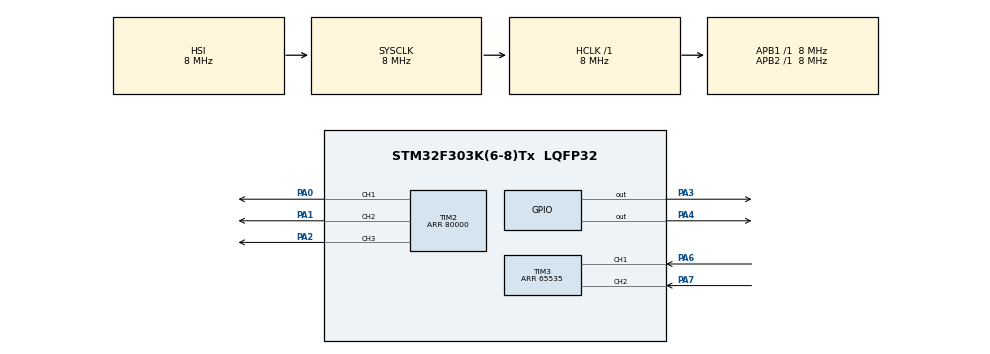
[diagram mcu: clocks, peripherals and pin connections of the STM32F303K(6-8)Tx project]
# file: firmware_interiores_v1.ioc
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Mcu.Family=STM32F3
Mcu.Name=STM32F303K(6-8)Tx
Mcu.Package=LQFP32
NVIC.PriorityGroup=NVIC_PRIORITYGROUP_4
NVIC.TIM2_IRQn=true\:0\:0\:false\:false\:true\:true\:true\:true
NVIC.TIM3_IRQn=true\:0\:0\:false\:false\:true\:true\:true\:true
PA0.Signal=S_TIM2_CH1_ETR
PA1.Signal=S_TIM2_CH2
PA13.Mode=Serial_Wire
PA13.Signal=SYS_JTMS-SWDIO
PA14.Mode=Serial_Wire
PA14.Signal=SYS_JTCK-SWCLK
PA2.Signal=S_TIM2_CH3
PA3.Signal=GPIO_Output
PA4.Signal=GPIO_Output
PA6.Signal=S_TIM3_CH1
PA7.Signal=S_TIM3_CH2
ProjectManager.HeapSize=0x200
ProjectManager.StackSize=0x400
ProjectManager.TargetToolchain=STM32CubeIDE
RCC.AHBFreq_Value=8000000
RCC.APB1Freq_Value=8000000
RCC.APB1TimFreq_Value=8000000
RCC.APB2Freq_Value=8000000
RCC.APB2TimFreq_Value=8000000
RCC.CortexFreq_Value=8000000
RCC.HCLKFreq_Value=8000000
RCC.HSE_VALUE=8000000
RCC.HSI_VALUE=8000000
RCC.PLLMUL=RCC_PLL_MUL9
RCC.SYSCLKFreq_VALUE=8000000
SH.S_TIM2_CH1_ETR.0=TIM2_CH1,PWM Generation1 CH1
SH.S_TIM2_CH2.0=TIM2_CH2,PWM Generation2 CH2
SH.S_TIM2_CH3.0=TIM2_CH3,PWM Generation3 CH3
SH.S_TIM3_CH1.0=TIM3_CH1,Encoder_Interface
SH.S_TIM3_CH2.0=TIM3_CH2,Encoder_Interface
TIM2.AutoReloadPreload=TIM_AUTORELOAD_PRELOAD_ENABLE
TIM2.Channel-PWM\ Generation1\ CH1=TIM_CHANNEL_1
TIM2.Channel-PWM\ Generation2\ CH2=TIM_CHANNEL_2
TIM2.Channel-PWM\ Generation3\ CH3=TIM_CHANNEL_3
TIM2.Period=80000
TIM2.Pulse-PWM\ Generation1\ CH1=15360
TIM2.Pulse-PWM\ Generation2\ CH2=12160
TIM2.Pulse-PWM\ Generation3\ CH3=8960
TIM3.EncoderMode=TIM_ENCODERMODE_TI12
TIM3.IC1Polarity=TIM_ICPOLARITY_RISING
TIM3.IC2Polarity=TIM_ICPOLARITY_RISING
TIM3.Period=65535
VP_TIM2_VS_ClockSourceINT.Mode=Internal
board=custom

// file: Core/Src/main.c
/* USER CODE BEGIN Header */
/**
  ******************************************************************************
  * @file           : main.c
  * @brief          : Main program body
  ******************************************************************************
  * @attention
  *
  * Copyright (c) 2022 STMicroelectronics.
  * All rights reserved.
  *
  * This software is licensed under terms that can be found in the LICENSE file
  * in the root directory of this software component.
  * If no LICENSE file comes with this software, it is provided AS-IS.
  *
  ******************************************************************************
  */
/* USER CODE END Header */
#include "main.h"

 TIM_HandleTypeDef htim2;
TIM_HandleTypeDef htim3;

/* USER CODE BEGIN PV */
uint32_t counter = 0;
int16_t count=0;
float wheel_FL_ang_pos=0;
int16_t position=0;
int speed=0;
int cuenta=0;
int counter1=0;
float vel_ang_FL=0;
float old_FL_ang_pos=0;
float contador=0;
int save_contador=0;
int cont_ant=0;
int nuevo=10;
int enable=1;
int tiempo1=0;
double aux=0;
int autoreload=0;
int counter_IT=0;

float tiempo_IT=0;
float t_actual=0;
float t_anterior=0;

float vel_ang_FL_timer=0;
float wheel_FL_ang_pos_timer=0;
float old_FL_ang_pos_timer=0;
float count1=0;
/* USER CODE END PV */

void SystemClock_Config(void);
static void MX_GPIO_Init(void);
static void MX_TIM2_Init(void);
static void MX_TIM3_Init(void);

/* USER CODE BEGIN 0 */

void HAL_TIM_IC_CaptureCallback(TIM_HandleTypeDef *htim){
	counter=__HAL_TIM_GET_COUNTER(htim);
	count= (int16_t)counter;
	position=count/4;
	//cuenta++;
}

/* USER CODE END 0 */

int main(void)
{

  /* MCU Configuration--------------------------------------------------------*/

  /* Reset of all peripherals, Initializes the Flash interface and the Systick. */
  HAL_Init();

  /* Configure the system clock */
  SystemClock_Config();

  /* Initialize all configured peripherals */
  MX_GPIO_Init();
  MX_TIM2_Init();
  MX_TIM3_Init();
  /* USER CODE BEGIN 2 */

  HAL_TIM_PWM_Start(&htim2, TIM_CHANNEL_1);
  HAL_TIM_PWM_Start(&htim2, TIM_CHANNEL_2);
  HAL_TIM_PWM_Start(&htim2, TIM_CHANNEL_3);

  HAL_TIM_Encoder_Start_IT(&htim3, TIM_CHANNEL_ALL);
  HAL_TIM_Base_Start_IT(&htim2);

  /* USER CODE END 2 */

  /* Infinite loop */
  while (1)
  {

    /* USER CODE BEGIN 3 */
	  contador=__HAL_TIM_GET_COUNTER(&htim2);

  }
  /* USER CODE END 3 */
}

void SystemClock_Config(void)
{
  RCC_OscInitTypeDef RCC_OscInitStruct = {0};
  RCC_ClkInitTypeDef RCC_ClkInitStruct = {0};

  /** Initializes the RCC Oscillators according to the specified parameters
  * in the RCC_OscInitTypeDef structure.
  */
  RCC_OscInitStruct.OscillatorType = RCC_OSCILLATORTYPE_HSI;
  RCC_OscInitStruct.HSIState = RCC_HSI_ON;
  RCC_OscInitStruct.HSICalibrationValue = RCC_HSICALIBRATION_DEFAULT;
  RCC_OscInitStruct.PLL.PLLState = RCC_PLL_NONE;
  if (HAL_RCC_OscConfig(&RCC_OscInitStruct) != HAL_OK)
  {
    Error_Handler();
  }

  /** Initializes the CPU, AHB and APB buses clocks
  */
  RCC_ClkInitStruct.ClockType = RCC_CLOCKTYPE_HCLK|RCC_CLOCKTYPE_SYSCLK
                              |RCC_CLOCKTYPE_PCLK1|RCC_CLOCKTYPE_PCLK2;
  RCC_ClkInitStruct.SYSCLKSource = RCC_SYSCLKSOURCE_HSI;
  RCC_ClkInitStruct.AHBCLKDivider = RCC_SYSCLK_DIV1;
  RCC_ClkInitStruct.APB1CLKDivider = RCC_HCLK_DIV1;
  RCC_ClkInitStruct.APB2CLKDivider = RCC_HCLK_DIV1;

  if (HAL_RCC_ClockConfig(&RCC_ClkInitStruct, FLASH_LATENCY_0) != HAL_OK)
  {
    Error_Handler();
  }
}

static void MX_TIM2_Init(void)
{

  TIM_ClockConfigTypeDef sClockSourceConfig = {0};
  TIM_MasterConfigTypeDef sMasterConfig = {0};
  TIM_OC_InitTypeDef sConfigOC = {0};

  htim2.Instance = TIM2;
  htim2.Init.Prescaler = 0;
  htim2.Init.CounterMode = TIM_COUNTERMODE_UP;
  htim2.Init.Period = 80000;
  htim2.Init.ClockDivision = TIM_CLOCKDIVISION_DIV1;
  htim2.Init.AutoReloadPreload = TIM_AUTORELOAD_PRELOAD_ENABLE;
  if (HAL_TIM_Base_Init(&htim2) != HAL_OK)
  {
    Error_Handler();
  }
  sClockSourceConfig.ClockSource = TIM_CLOCKSOURCE_INTERNAL;
  if (HAL_TIM_ConfigClockSource(&htim2, &sClockSourceConfig) != HAL_OK)
  {
    Error_Handler();
  }
  if (HAL_TIM_PWM_Init(&htim2) != HAL_OK)
  {
    Error_Handler();
  }
  sMasterConfig.MasterOutputTrigger = TIM_TRGO_RESET;
  sMasterConfig.MasterSlaveMode = TIM_MASTERSLAVEMODE_DISABLE;
  if (HAL_TIMEx_MasterConfigSynchronization(&htim2, &sMasterConfig) != HAL_OK)
  {
    Error_Handler();
  }
  sConfigOC.OCMode = TIM_OCMODE_PWM1;
  sConfigOC.Pulse = 15360;
  sConfigOC.OCPolarity = TIM_OCPOLARITY_HIGH;
  sConfigOC.OCFastMode = TIM_OCFAST_DISABLE;
  if (HAL_TIM_PWM_ConfigChannel(&htim2, &sConfigOC, TIM_CHANNEL_1) != HAL_OK)
  {
    Error_Handler();
  }
  sConfigOC.Pulse = 12160;
  if (HAL_TIM_PWM_ConfigChannel(&htim2, &sConfigOC, TIM_CHANNEL_2) != HAL_OK)
  {
    Error_Handler();
  }
  sConfigOC.Pulse = 8960;
  if (HAL_TIM_PWM_ConfigChannel(&htim2, &sConfigOC, TIM_CHANNEL_3) != HAL_OK)
  {
    Error_Handler();
  }
  HAL_TIM_MspPostInit(&htim2);

}

static void MX_TIM3_Init(void)
{

  TIM_Encoder_InitTypeDef sConfig = {0};
  TIM_MasterConfigTypeDef sMasterConfig = {0};

  htim3.Instance = TIM3;
  htim3.Init.Prescaler = 0;
  htim3.Init.CounterMode = TIM_COUNTERMODE_UP;
  htim3.Init.Period = 65535;
  htim3.Init.ClockDivision = TIM_CLOCKDIVISION_DIV1;
  htim3.Init.AutoReloadPreload = TIM_AUTORELOAD_PRELOAD_DISABLE;
  sConfig.EncoderMode = TIM_ENCODERMODE_TI12;
  sConfig.IC1Polarity = TIM_ICPOLARITY_RISING;
  sConfig.IC1Selection = TIM_ICSELECTION_DIRECTTI;
  sConfig.IC1Prescaler = TIM_ICPSC_DIV1;
  sConfig.IC1Filter = 0;
  sConfig.IC2Polarity = TIM_ICPOLARITY_RISING;
  sConfig.IC2Selection = TIM_ICSELECTION_DIRECTTI;
  sConfig.IC2Prescaler = TIM_ICPSC_DIV1;
  sConfig.IC2Filter = 0;
  if (HAL_TIM_Encoder_Init(&htim3, &sConfig) != HAL_OK)
  {
    Error_Handler();
  }
  sMasterConfig.MasterOutputTrigger = TIM_TRGO_RESET;
  sMasterConfig.MasterSlaveMode = TIM_MASTERSLAVEMODE_DISABLE;
  if (HAL_TIMEx_MasterConfigSynchronization(&htim3, &sMasterConfig) != HAL_OK)
  {
    Error_Handler();
  }

}

static void MX_GPIO_Init(void)
{
  GPIO_InitTypeDef GPIO_InitStruct = {0};

  /* GPIO Ports Clock Enable */
  __HAL_RCC_GPIOA_CLK_ENABLE();

  /*Configure GPIO pin Output Level */
  HAL_GPIO_WritePin(GPIOA, GPIO_PIN_3|GPIO_PIN_4, GPIO_PIN_RESET);

  /*Configure GPIO pins : PA3 PA4 */
  GPIO_InitStruct.Pin = GPIO_PIN_3|GPIO_PIN_4;
  GPIO_InitStruct.Mode = GPIO_MODE_OUTPUT_PP;
  GPIO_InitStruct.Pull = GPIO_NOPULL;
  GPIO_InitStruct.Speed = GPIO_SPEED_FREQ_LOW;
  HAL_GPIO_Init(GPIOA, &GPIO_InitStruct);

}

/* USER CODE BEGIN 4 */
void HAL_TIM_PeriodElapsedCallback(TIM_HandleTypeDef* htim)
{
	counter_IT+=1;
	tiempo_IT=contador/8000000;
	count1=(float)count;
	wheel_FL_ang_pos_timer=(180/3.14)*2*3.14*count1/979;
	vel_ang_FL_timer=((wheel_FL_ang_pos_timer-old_FL_ang_pos_timer)/tiempo_IT);
	aux=contador/8000000;
	old_FL_ang_pos_timer=wheel_FL_ang_pos_timer;
	//HAL_GPIO_TogglePin(GPIOA, GPIO_PIN_3);
}
/* USER CODE END 4 */

void Error_Handler(void)
{
  __disable_irq();
  while (1)
  {
  }
}
